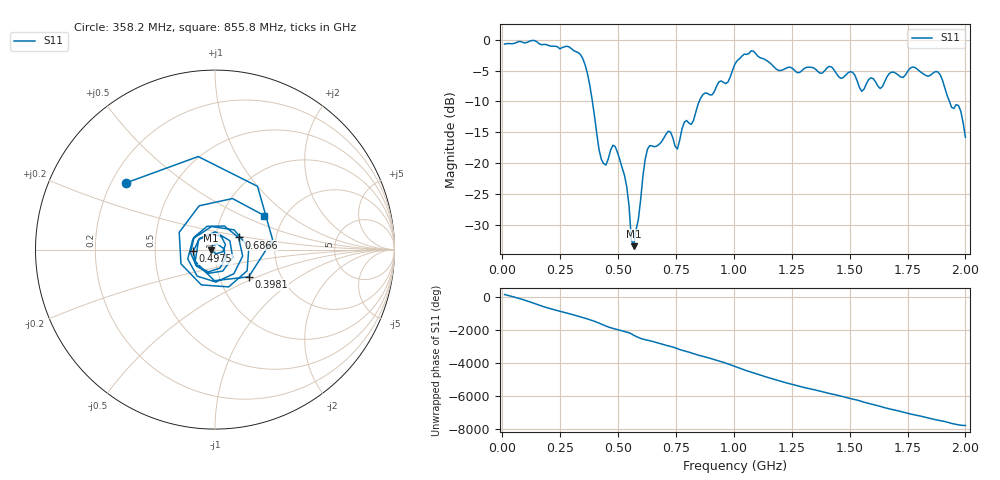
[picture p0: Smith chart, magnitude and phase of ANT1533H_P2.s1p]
!Created with skrf (http://scikit-rf.org).
# Hz S RI R 50.0
!freq ReS11 ImS11
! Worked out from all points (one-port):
!   201 points, 10 MHz to 2 GHz, reference 50 ohm
!   lowest |S11| = -33.5 dB at 567.2 MHz (marker M1), VSWR 1.04, Z = 48 - j0.435 ohm
!   |S11| at or under -10 dB: 389.1 MHz to 850.6 MHz (461.6 MHz wide, 74.5 % of centre); 1.931 GHz to end of sweep
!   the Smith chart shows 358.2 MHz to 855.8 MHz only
!   S11 on the Smith chart (normalised r, x): 358.2 MHz: 0.26, +0.31; 398.1 MHz: 1.38, -0.44; 497.6 MHz: 0.78, -0.02; 686.6 MHz: 1.29, +0.18; 855.8 MHz: 1.58, +0.67
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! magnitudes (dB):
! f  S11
! 10 MHz  -0.7
! 258.8 MHz  -1.3
! 358.2 MHz  -4.1
! 398.1 MHz  -12.3
! 437.9 MHz  -20.1
! 477.6 MHz  -17.1
! 497.6 MHz  -18.3
! 507.5 MHz  -19.5
! 537.4 MHz  -23.8
! 557.2 MHz  -32.4
! 567.2 MHz  -33.5
! 626.9 MHz  -17.8
! 686.6 MHz  -16.6
! 726.4 MHz  -15.0
! 756.2 MHz  -17.7
! 786.1 MHz  -13.4
! 816 MHz  -13.7
! 855.8 MHz  -9.5
! 1.005 GHz  -3.9
! 1.075 GHz  -1.8
! 1.254 GHz  -4.7
! 1.502 GHz  -5.2
! 1.552 GHz  -8.4
! 1.751 GHz  -5.1
! 1.881 GHz  -5.2
! 1.94 GHz  -11.0
! 1.97 GHz  -10.7
! 2 GHz  -15.8
